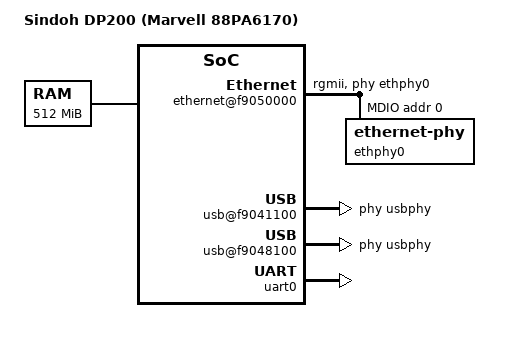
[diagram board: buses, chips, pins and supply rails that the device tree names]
// SPDX-License-Identifier: GPL-2.0
/*
 * Sindoh DP200 3D printer, Marvell 88PA6170 SoC: milestone 1 of the
 * mainline route (klipper_port/docs/no_gpl_plan.md). One CPU, GIC, SoC
 * timer, UART0, built-in initramfs.
 *
 * Addresses and IRQs come from the vendor 3.2 kernel image
 * (tools/kernel_re/, docs/kernel/vendor_hwtables.txt). The vendor kernel
 * numbers IRQs as GIC IDs, so GIC_SPI n = vendor IRQ n - 32.
 *
 * Boot: zImage with this DTB appended (ARM_APPENDED_DTB +
 * ARM_ATAG_DTB_COMPAT), wrapped by mkimage for "bootm" in U-Boot 2011.09.
 * U-Boot's bootargs are appended to the bootargs below.
 */
/dts-v1/;

#include <dt-bindings/interrupt-controller/arm-gic.h>
#include <dt-bindings/interrupt-controller/irq.h>

/ {
	model = "Sindoh DP200 (Marvell 88PA6170)";
	compatible = "sindoh,dp200", "marvell,88pa6170";
	#address-cells = <1>;
	#size-cells = <1>;
	interrupt-parent = <&gic>;

	chosen {
		#address-cells = <1>;
		#size-cells = <1>;
		ranges;

		/* console=ttyS0 last: it stays /dev/console, tty0 is the panel */
		bootargs = "console=tty0 console=ttyS0,115200n8 earlycon=uart8250,mmio32,0xf8060000 rdinit=/init panic=10";
		stdout-path = "serial0:115200n8";

		/*
		 * The boot-logo buffer U-Boot set up and the LCD controller
		 * (0xf9070000) still scans: 800x480 RGB565, the panel mounted
		 * in portrait (fbcon=rotate:N turns the console).
		 */
		framebuffer@18000000 {
			compatible = "simple-framebuffer";
			reg = <0x18000000 0xbb800>;
			width = <800>;
			height = <480>;
			stride = <1600>;
			format = "r5g6b5";
		};
	};

	aliases {
		serial0 = &uart0;
	};

	memory@0 {
		device_type = "memory";
		reg = <0x00000000 0x20000000>;	/* 512 MB; U-Boot's ATAG_MEM replaces it */
	};

	reserved-memory {
		#address-cells = <1>;
		#size-cells = <1>;
		ranges;

		/* Boot-logo framebuffer set up by U-Boot, still scanned out */
		framebuffer@18000000 {
			reg = <0x18000000 0x000bc000>;
			no-map;
		};
	};

	cpus {
		#address-cells = <1>;
		#size-cells = <0>;
		/* SCU on, secondary_startup to the 0xfa000000 mailbox, SGI */
		enable-method = "marvell,88pa6170-smp";

		/* PJ4B-MP, MIDR 0x562f5841, MPIDR 0x80000000/1 */
		cpu@0 {
			device_type = "cpu";
			compatible = "marvell,pj4b";
			reg = <0>;
		};

		cpu@1 {
			device_type = "cpu";
			compatible = "marvell,pj4b";
			reg = <1>;
		};
	};

	/* Timer tick after the prescaler: 198 MHz bus / 198 */
	timer_clk: timer-clk {
		compatible = "fixed-clock";
		#clock-cells = <0>;
		clock-frequency = <1000000>;
	};

	soc {
		compatible = "simple-bus";
		#address-cells = <1>;
		#size-cells = <1>;
		ranges;

		/* A9-style private region: SCU +0, GIC CPU +0x100, GIC dist +0x1000 */
		scu@f8fe0000 {
			compatible = "arm,cortex-a9-scu";
			reg = <0xf8fe0000 0x100>;
		};

		gic: interrupt-controller@f8fe1000 {
			compatible = "arm,cortex-a9-gic";
			#interrupt-cells = <3>;
			interrupt-controller;
			reg = <0xf8fe1000 0x1000>,
			      <0xf8fe0100 0x100>;
		};

		/*
		 * Secondary interrupt controllers, 32 inputs each: vendor IRQs
		 * 145-176 (SIC0, parent 133) and 177-208 (SIC1, parent 135).
		 * SIC0 inputs 0-7 are the DEC timers at 0xf9300500.
		 */
		sic0: interrupt-controller@f9300100 {
			compatible = "marvell,88pa6170-sic";
			reg = <0xf9300100 0x20>;
			interrupt-controller;
			#interrupt-cells = <1>;
			interrupts = <GIC_SPI 101 IRQ_TYPE_LEVEL_HIGH>;
		};

		sic1: interrupt-controller@f9300200 {
			compatible = "marvell,88pa6170-sic";
			reg = <0xf9300200 0x20>;
			interrupt-controller;
			#interrupt-cells = <1>;
			interrupts = <GIC_SPI 103 IRQ_TYPE_LEVEL_HIGH>;
		};

		/*
		 * GPIO banks A-H, 32 lines each (input +0, output +4,
		 * direction +8, pin configuration +0x80). Disabled here; the
		 * gpio variant enables them. Nothing is driven at probe.
		 */
		gpio0: gpio@f8040000 {
			compatible = "marvell,88pa6170-gpio";
			reg = <0xf8040000 0x100>;
			gpio-controller;
			#gpio-cells = <2>;
			status = "disabled";
		};

		gpio1: gpio@f8041000 {
			compatible = "marvell,88pa6170-gpio";
			reg = <0xf8041000 0x100>;
			gpio-controller;
			#gpio-cells = <2>;
			status = "disabled";
		};

		gpio2: gpio@f8042000 {
			compatible = "marvell,88pa6170-gpio";
			reg = <0xf8042000 0x100>;
			gpio-controller;
			#gpio-cells = <2>;
			status = "disabled";
		};

		gpio3: gpio@f8043000 {
			compatible = "marvell,88pa6170-gpio";
			reg = <0xf8043000 0x100>;
			gpio-controller;
			#gpio-cells = <2>;
			status = "disabled";
		};

		gpio4: gpio@f8044000 {
			compatible = "marvell,88pa6170-gpio";
			reg = <0xf8044000 0x100>;
			gpio-controller;
			#gpio-cells = <2>;
			status = "disabled";
		};

		gpio5: gpio@f8045000 {
			compatible = "marvell,88pa6170-gpio";
			reg = <0xf8045000 0x100>;
			gpio-controller;
			#gpio-cells = <2>;
			status = "disabled";
		};

		gpio6: gpio@f8046000 {
			compatible = "marvell,88pa6170-gpio";
			reg = <0xf8046000 0x100>;
			gpio-controller;
			#gpio-cells = <2>;
			status = "disabled";
		};

		gpio7: gpio@f8047000 {
			compatible = "marvell,88pa6170-gpio";
			reg = <0xf8047000 0x100>;
			gpio-controller;
			#gpio-cells = <2>;
			status = "disabled";
		};

		/*
		 * SD socket (vendor mmc0; the second slot at 0xf9080200 shares
		 * the interrupt and stays out). Card detect does not work
		 * (vendor quirk), so the slot is polled. Disabled here; the sd
		 * variant enables it.
		 */
		sdhci0: mmc@f9080000 {
			compatible = "marvell,88pa6170-sdhci";
			reg = <0xf9080000 0x100>;
			interrupts = <GIC_SPI 34 IRQ_TYPE_LEVEL_HIGH>;
			broken-cd;
			bus-width = <4>;
			status = "disabled";
		};

		/*
		 * UPC coprocessors (the Klipper MCUs): ITCM 0 + XENA registers,
		 * ITCM 1 + DTCM, the dec_pwm and stepper engine blocks the
		 * driver forces off on probe, reboot and panic, and the APB
		 * config word whose UPC clock field it sets like stock. Disabled here;
		 * the upc variant enables it.
		 */
		upc: upc@f9200000 {
			compatible = "marvell,88pa6170-upc";
			reg = <0xf9200000 0x10000>, <0xf9210000 0xb0000>,
			      <0xf9304000 0x2100>, <0xf8150000 0x5000>,
			      <0xf8000180 0x4>;
			reg-names = "upc0", "upc1", "pwm", "smot", "apb";
			interrupts = <GIC_SPI 94 IRQ_TYPE_LEVEL_HIGH>,
				     <GIC_SPI 95 IRQ_TYPE_LEVEL_HIGH>;
			status = "disabled";
		};

		/*
		 * Timers 0-3 (timer 0 is the vendor's watchdog). Timer 1 is the
		 * clock event device, timer 2 the clocksource. The second range
		 * is the prescaler, set to 198 like the vendor kernel does
		 * (BUSFREQ=200000000, "dithered" to 198 MHz).
		 */
		timer@f8020000 {
			compatible = "marvell,88pa6170-timer";
			reg = <0xf8020000 0x40>, <0xf8030000 0x4>;
			interrupts = <GIC_SPI 20 IRQ_TYPE_LEVEL_HIGH>,
				     <GIC_SPI 21 IRQ_TYPE_LEVEL_HIGH>,
				     <GIC_SPI 22 IRQ_TYPE_LEVEL_HIGH>,
				     <GIC_SPI 23 IRQ_TYPE_LEVEL_HIGH>;
			clocks = <&timer_clk>;
			marvell,prescale = <198>;
		};

		/*
		 * Synopsys GMAC (vendor driver: synopGMAC), DMA at +0x1000.
		 * Marvell 88E1510 RGMII PHY at MDIO address 0, held in reset
		 * by GPIO 62 (bank B bit 30) until the vendor kernel releases
		 * it (mach_phyHWInit); nothing here touches that GPIO. The
		 * vendor runs MDIO with CR = 0 and never sets the PHY's RGMII
		 * delays, so the PHY is bound to phylib's generic driver
		 * (MARVELL_PHY off), which keeps the strap defaults.
		 */
		ethernet@f9050000 {
			compatible = "snps,dwmac-3.70a", "snps,dwmac";
			reg = <0xf9050000 0x1100>;
			interrupts = <GIC_SPI 64 IRQ_TYPE_LEVEL_HIGH>;
			interrupt-names = "macirq";
			phy-mode = "rgmii";
			phy-handle = <&ethphy0>;
			clk_csr = <0>;

			mdio {
				compatible = "snps,dwmac-mdio";
				#address-cells = <1>;
				#size-cells = <0>;

				ethphy0: ethernet-phy@0 {
					reg = <0>;
				};
			};
		};

		/* PHYs 0-2 serve the device, host and OTG controllers */
		usbphy: phy@f904f000 {
			compatible = "marvell,88pa6170-usb-phy";
			reg = <0xf904f000 0x100>;
			#phy-cells = <1>;
		};

		/*
		 * ChipIdea controllers run as EHCI hosts, capability registers
		 * at +0x100 (vendor: "Marvell mv61xx EHCI"). ehci.0 is the
		 * host controller, ehci.1 the OTG controller in host mode.
		 */
		usb@f9041100 {
			compatible = "generic-ehci";
			reg = <0xf9041100 0x100>;
			interrupts = <GIC_SPI 66 IRQ_TYPE_LEVEL_HIGH>;
			phys = <&usbphy 1>;
			has-transaction-translator;
		};

		usb@f9048100 {
			compatible = "generic-ehci";
			reg = <0xf9048100 0x100>;
			interrupts = <GIC_SPI 67 IRQ_TYPE_LEVEL_HIGH>;
			phys = <&usbphy 2>;
			has-transaction-translator;
		};

		/*
		 * A DesignWare APB UART 3.08* (CPR 0x80013532: 16-byte FIFOs,
		 * AFCE, THRE, no shadow registers). The vendor runs it as a
		 * plain 16550A and so does milestone 1; "snps,dw-apb-uart" with
		 * SERIAL_8250_DW would add the busy-detect handling.
		 */
		uart0: serial@f8060000 {
			compatible = "ns16550a";
			reg = <0xf8060000 0x100>;
			reg-shift = <2>;
			reg-io-width = <4>;
			clock-frequency = <25000000>;
			interrupts = <GIC_SPI 0 IRQ_TYPE_LEVEL_HIGH>;
		};
	};
};
